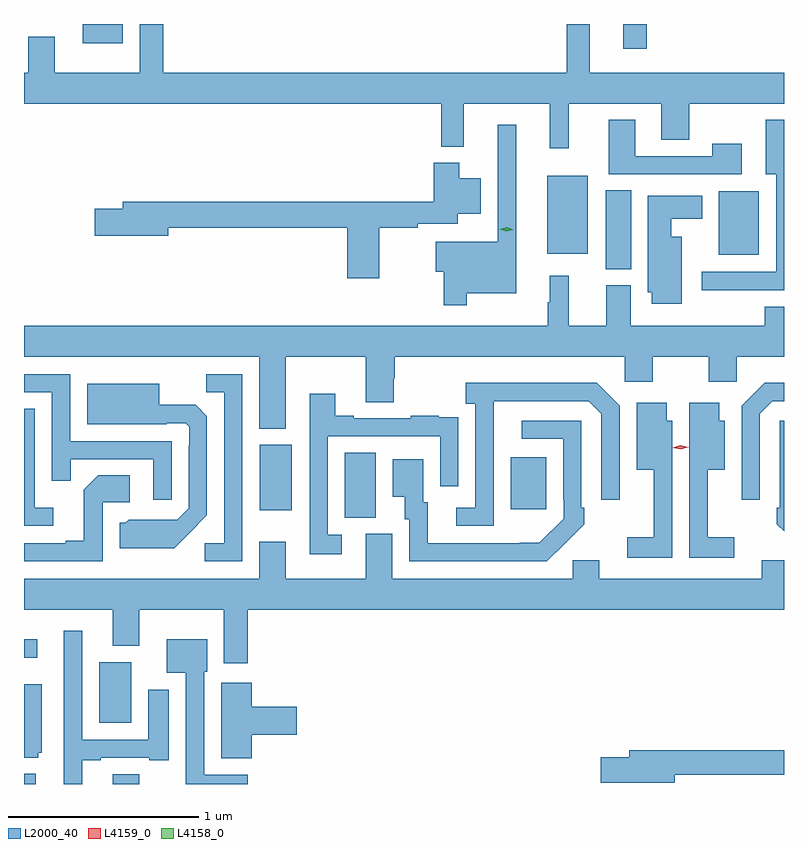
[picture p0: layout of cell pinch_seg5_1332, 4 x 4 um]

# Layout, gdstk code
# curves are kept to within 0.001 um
import gdstk
lib = gdstk.Library(unit=1e-6, precision=1e-09)
def R(c, l, rs):  # rectangles x0, y0, x1, y1
    for r in rs: c.add(gdstk.rectangle(r[:2], r[2:], *l))
def P(c, l, *ps):  # polygons
    for p in ps: c.add(gdstk.Polygon(p, *l))
L2000_40 = (2000, 40)
L4158_0 = (4158, 0)
L4159_0 = (4159, 0)

pinch_seg5_1332 = lib.new_cell('pinch_seg5_1332')
R(pinch_seg5_1332, L2000_40, [(299.052,877.156,299.113,877.21), (299.519,877.156,299.659,877.208), (299.447,877.478,299.617,877.798), (299.052,877.82,299.122,877.918), (300.74,878.557,300.904,878.9), (300.293,878.598,300.46,878.941), (301.613,878.601,301.801,878.875), (302.114,879.865,302.248,880.28), (302.708,879.941,302.92,880.276), (301.805,879.947,302.02,880.357), (302.207,881.025,302.329,881.156), (299.36,881.054,299.572,881.156)])
P(pinch_seg5_1332, L2000_40, [(301.919,880.736),(302.405,880.736),(302.405,880.546),(302.553,880.546),(302.553,880.736),(303.052,880.736),(303.052,880.9),(302.029,880.9),(302.029,881.156),(301.908,881.156),(301.908,880.9),(299.786,880.9),(299.786,881.156),(299.66,881.156),(299.66,880.9),(299.215,880.9),(299.215,881.089),(299.075,881.089),(299.075,880.9),(299.052,880.9),(299.052,880.736),(301.249,880.736),(301.249,880.511),(301.367,880.511),(301.367,880.736),(301.82,880.736),(301.82,880.503),(301.919,880.503)],
  [(302.83,880.525),(302.674,880.525),(302.674,880.461),(302.269,880.461),(302.269,880.651),(302.129,880.651),(302.129,880.365),(302.83,880.365)],
  [(303.052,880.651),(302.957,880.651),(302.957,880.364),(303.011,880.364),(303.011,879.852),(302.619,879.852),(302.619,879.755),(303.052,879.755)],
  [(301.381,879.74),(301.642,879.74),(301.642,880.627),(301.545,880.627),(301.545,880.009),(301.218,880.009),(301.218,879.851),(301.26,879.851),(301.26,879.675),(301.381,879.675)],
  [(300.922,880.084),(301.124,880.084),(301.124,880.104),(301.336,880.104),(301.336,880.157),(301.456,880.157),(301.456,880.345),(301.342,880.345),(301.342,880.426),(301.208,880.426),(301.208,880.22),(299.573,880.22),(299.573,880.184),(299.424,880.184),(299.424,880.042),(299.812,880.042),(299.812,880.084),(300.752,880.084),(300.752,879.819),(300.922,879.819)],
  [(302.515,880.036),(302.458,880.036),(302.458,880.13),(302.623,880.13),(302.623,880.252),(302.336,880.252),(302.336,879.744),(302.357,879.744),(302.357,879.684),(302.515,879.684)],
  [(300.43,879.404),(300.851,879.404),(300.851,879.166),(300.999,879.166),(300.999,879.291),(301.004,879.291),(301.004,879.404),(302.214,879.404),(302.214,879.273),(302.361,879.273),(302.361,879.404),(302.656,879.404),(302.656,879.273),(302.802,879.273),(302.802,879.404),(303.052,879.404),(303.052,879.667),(302.95,879.667),(302.95,879.568),(302.245,879.568),(302.245,879.78),(302.117,879.78),(302.117,879.568),(301.919,879.568),(301.919,879.832),(301.82,879.832),(301.82,879.692),(301.809,879.692),(301.809,879.568),(299.052,879.568),(299.052,879.404),(300.29,879.404),(300.29,879.026),(300.43,879.026)],
  [(299.829,878.961),(299.295,878.961),(299.295,879.312),(299.052,879.312),(299.052,879.219),(299.199,879.219),(299.199,878.752),(299.297,878.752),(299.297,878.865),(299.733,878.865),(299.733,878.652),(299.829,878.652)],
  [(300.201,879.312),(300.01,879.312),(300.01,879.217),(300.105,879.217),(300.105,878.424),(300.003,878.424),(300.003,878.328),(300.201,878.328)],
  [(301.524,878.971),(301.525,879.171),(302.025,879.171),(302.091,879.105),(302.091,878.652),(302.187,878.652),(302.187,879.147),(302.066,879.268),(301.377,879.268),(301.377,879.158),(301.428,879.158),(301.428,878.61),(301.326,878.61),(301.326,878.514),(301.524,878.514)],
  [(302.925,879.105),(302.991,879.171),(303.052,879.171),(303.052,879.268),(302.95,879.268),(302.829,879.147),(302.829,878.652),(302.925,878.652)],
  [(299.923,878.477),(300.015,878.57),(300.015,879.092),(299.956,879.151),(299.764,879.151),(299.764,879.262),(299.384,879.262),(299.384,879.05),(299.804,879.05),(299.804,879.054),(299.904,879.054),(299.922,879.036),(299.922,878.936),(299.919,878.936),(299.919,878.607),(299.859,878.547),(299.602,878.548),(299.586,878.532),(299.555,878.532),(299.555,878.396),(299.843,878.396)],
  [(300.724,878.469),(300.651,878.469),(300.651,878.985),(301.242,878.985),(301.242,878.724),(301.338,878.724),(301.338,878.978),(301.337,878.978),(301.337,879.087),(301.235,879.087),(301.235,879.094),(301.087,879.094),(301.087,879.081),(300.787,879.081),(300.787,879.094),(300.691,879.094),(300.691,879.211),(300.555,879.211),(300.555,878.364),(300.724,878.364)],
  [(302.791,878.455),(302.651,878.455),(302.651,878.81),(302.74,878.81),(302.74,879.067),(302.71,879.067),(302.71,879.163),(302.552,879.163),(302.552,878.914),(302.553,878.914),(302.553,878.346),(302.791,878.346)],
  [(302.463,879.067),(302.434,879.067),(302.434,879.163),(302.276,879.163),(302.276,878.81),(302.366,878.81),(302.366,878.455),(302.226,878.455),(302.226,878.346),(302.463,878.346)],
  [(299.206,878.611),(299.109,878.611),(299.109,879.131),(299.052,879.131),(299.052,878.514),(299.206,878.514)],
  [(303.052,879.069),(303.03,879.069),(303.03,878.611),(303.015,878.611),(303.015,878.523),(303.052,878.486)],
  [(301.895,878.419),(301.896,878.418),(302.001,878.523),(302.001,878.611),(301.986,878.611),(301.986,879.069),(301.671,879.069),(301.671,878.973),(301.89,878.973),(301.89,878.653),(301.893,878.653),(301.893,878.553),(301.765,878.425),(301.177,878.424),(301.177,878.64),(301.153,878.64),(301.153,878.866),(300.992,878.866),(300.992,878.669),(301.055,878.669),(301.055,878.55),(301.08,878.55),(301.08,878.328),(301.804,878.328)],
  [(299.466,878.64),(299.608,878.64),(299.608,878.78),(299.443,878.78),(299.367,878.704),(299.367,878.437),(299.273,878.437),(299.273,878.424),(299.052,878.424),(299.052,878.328),(299.466,878.328)],
  [(300.23,878.072),(303.052,878.072),(303.052,878.334),(302.936,878.334),(302.936,878.236),(302.08,878.236),(302.08,878.334),(301.941,878.334),(301.941,878.236),(300.991,878.236),(300.991,878.472),(300.851,878.472),(300.851,878.236),(300.43,878.236),(300.43,878.431),(300.29,878.431),(300.29,878.236),(299.052,878.236),(299.052,878.072),(299.519,878.072),(299.519,877.883),(299.659,877.883),(299.659,878.072),(300.104,878.072),(300.104,877.791),(300.23,877.791)],
  [(299.359,877.281),(299.455,877.281),(299.455,877.293),(299.711,877.293),(299.711,877.281),(299.815,877.281),(299.815,877.651),(299.705,877.651),(299.705,877.389),(299.358,877.389),(299.358,877.963),(299.262,877.963),(299.262,877.156),(299.359,877.156)],
  [(300.229,877.206),(300,877.206),(300,877.746),(300.016,877.746),(300.016,877.918),(299.804,877.918),(299.804,877.742),(299.904,877.742),(299.904,877.156),(300.229,877.156)],
  [(300.251,877.415),(300.487,877.415),(300.487,877.562),(300.251,877.562),(300.251,877.69),(300.089,877.69),(300.089,877.291),(300.251,877.291)],
  [(299.127,877.32),(299.146,877.32),(299.146,877.681),(299.052,877.681),(299.052,877.295),(299.127,877.295)],
  [(302.476,877.206),(303.052,877.206),(303.052,877.334),(302.237,877.334),(302.237,877.298),(302.088,877.298),(302.088,877.163),(302.476,877.163)])
P(pinch_seg5_1332, L4158_0, [(301.591,880.065),(301.556,880.077),(301.555,880.077),(301.556,880.077),(301.592,880.085),(301.626,880.074),(301.627,880.073),(301.626,880.073)])
P(pinch_seg5_1332, L4159_0, [(302.508,878.918),(302.466,878.927),(302.466,878.927),(302.466,878.927),(302.507,878.938),(302.548,878.928),(302.549,878.928),(302.548,878.928)])

lib.write_gds('pinch_seg5_1332.gds')
